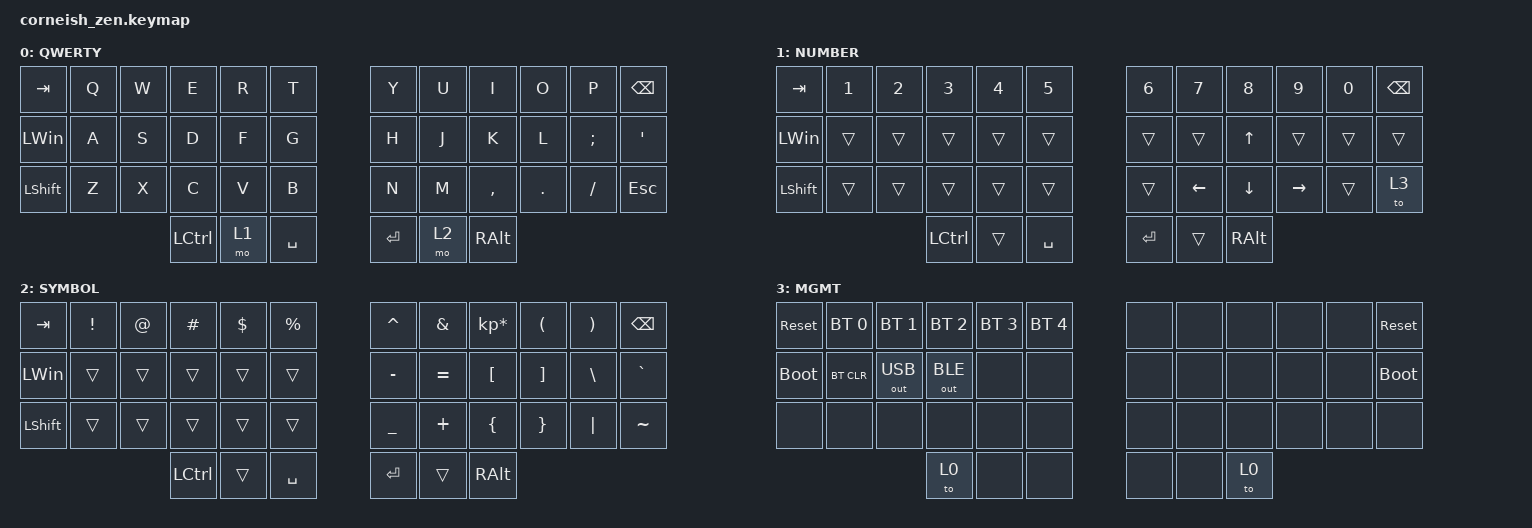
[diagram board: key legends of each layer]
/*
*
* Copyright (c) 2021 Darryl deHaan
* SPDX-License-Identifier: MIT
*
*/

#include <behaviors.dtsi>
#include <dt-bindings/zmk/bt.h>
#include <dt-bindings/zmk/keys.h>

/ {
    chosen {
        zmk,matrix_transform = &default_transform;

        // zmk,matrix_transform = &five_column_transform;
    };
};

/ {
    keymap {
        compatible = "zmk,keymap";

        default_layer {
            label = "QWERTY";

            bindings = <
  &kp TAB  &kp Q  &kp W      &kp E  &kp R      &kp T      &kp Y  &kp U      &kp I    &kp O     &kp P  &kp BSPC
 &kp LWIN  &kp A  &kp S      &kp D  &kp F      &kp G      &kp H  &kp J      &kp K    &kp L  &kp SEMI   &kp SQT
&kp LSHFT  &kp Z  &kp X      &kp C  &kp V      &kp B      &kp N  &kp M  &kp COMMA  &kp DOT  &kp FSLH   &kp ESC
                         &kp LCTRL  &mo 1  &kp SPACE    &kp RET  &mo 2   &kp RALT
            >;
        };

        lower_layer {
            label = "NUMBER";

            bindings = <
  &kp TAB  &kp N1  &kp N2    &kp N3  &kp N4     &kp N5     &kp N6    &kp N7    &kp N8     &kp N9  &kp N0  &kp BSPC
 &kp LWIN  &trans  &trans    &trans  &trans     &trans     &trans    &trans    &kp UP     &trans  &trans    &trans
&kp LSHFT  &trans  &trans    &trans  &trans     &trans     &trans  &kp LEFT  &kp DOWN  &kp RIGHT  &trans     &to 3
                          &kp LCTRL  &trans  &kp SPACE    &kp RET    &trans  &kp RALT
            >;
        };

        raise_layer {
            label = "SYMBOL";

            bindings = <
  &kp TAB  &kp EXCL  &kp AT  &kp HASH  &kp DLLR  &kp PRCNT    &kp CARET   &kp AMPS  &kp KP_MULTIPLY  &kp LPAR  &kp RPAR   &kp BSPC
 &kp LWIN    &trans  &trans    &trans    &trans     &trans    &kp MINUS  &kp EQUAL         &kp LBKT  &kp RBKT  &kp BSLH  &kp GRAVE
&kp LSHFT    &trans  &trans    &trans    &trans     &trans    &kp UNDER   &kp PLUS         &kp LBRC  &kp RBRC  &kp PIPE  &kp TILDE
                            &kp LCTRL    &trans  &kp SPACE      &kp RET     &trans         &kp RALT
            >;
        };

        mgmt_layer {
            label = "MGMT";

            bindings = <
&sys_reset  &bt BT_SEL 0  &bt BT_SEL 1  &bt BT_SEL 2  &bt BT_SEL 3  &bt BT_SEL 4    &none  &none  &none  &none  &none  &sys_reset
&bootloader &bt BT_CLR    &out OUT_USB  &out OUT_BLE  &none         &none           &none  &none  &none  &none  &none  &bootloader
&none       &none         &none         &none         &none         &none           &none  &none  &none  &none  &none  &none
                                        &to 0         &none         &none           &none  &none  &to 0
            >;
        };
    };
};
